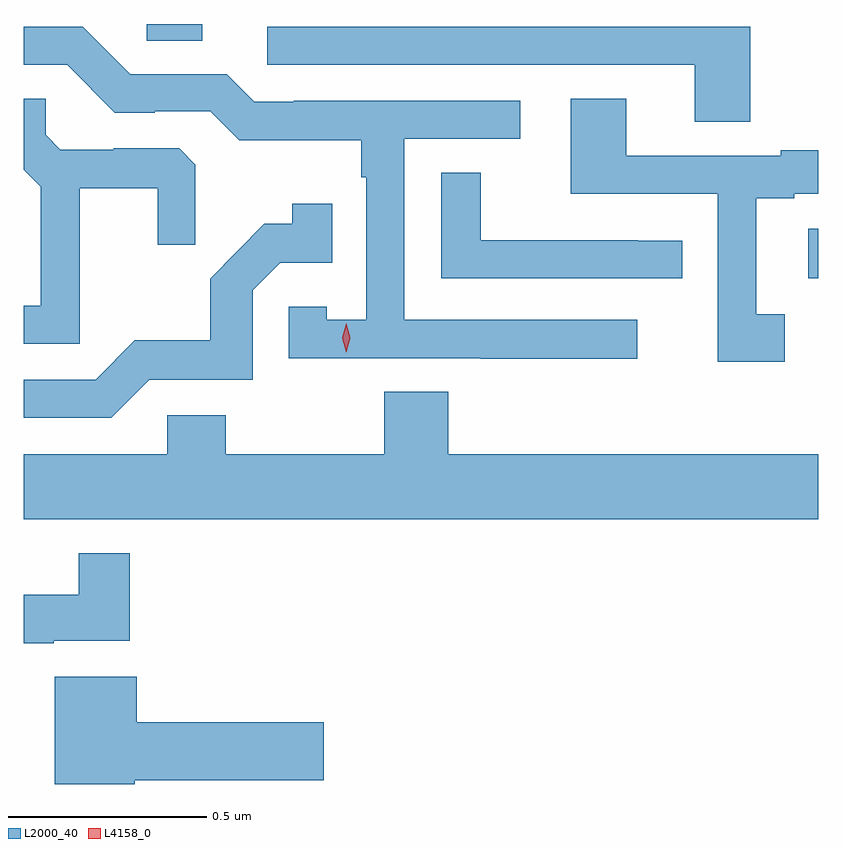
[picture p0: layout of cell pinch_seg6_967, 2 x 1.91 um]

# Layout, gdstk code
import gdstk
lib = gdstk.Library(unit=1e-6, precision=1e-09)
def R(c, l, rs):  # rectangles x0, y0, x1, y1
    for r in rs: c.add(gdstk.rectangle(r[:2], r[2:], *l))
def P(c, l, *ps):  # polygons
    for p in ps: c.add(gdstk.Polygon(p, *l))
L2000_40 = (2000, 40)
L4158_0 = (4158, 0)

pinch_seg6_967 = lib.new_cell('pinch_seg6_967')
R(pinch_seg6_967, L2000_40, [(366.087,918.639,366.112,918.763), (364.422,919.237,364.561,919.279)])
P(pinch_seg6_967, L2000_40, [(365.656,918.534),(365.07,918.534),(365.07,918.99),(365.362,918.99),(365.362,919.086),(364.792,919.086),(364.792,919.083),(364.692,919.083),(364.623,919.152),(364.38,919.152),(364.26,919.272),(364.112,919.272),(364.112,919.176),(364.221,919.176),(364.341,919.056),(364.442,919.056),(364.442,919.059),(364.581,919.059),(364.654,918.986),(364.962,918.986),(364.962,918.893),(364.974,918.893),(364.974,918.535),(364.875,918.535),(364.875,918.567),(364.779,918.567),(364.779,918.438),(365.263,918.438),(365.263,918.436),(365.656,918.436)],
  [(365.941,919.272),(364.725,919.272),(364.725,919.176),(365.801,919.176),(365.801,919.033),(365.941,919.033)],
  [(366.028,918.549),(365.956,918.549),(365.956,918.84),(366.052,918.84),(366.052,918.852),(366.112,918.852),(366.112,918.961),(366.017,918.961),(366.017,918.948),(365.629,918.948),(365.629,919.091),(365.489,919.091),(365.489,918.852),(365.859,918.852),(365.859,918.429),(366.028,918.429)],
  [(364.253,918.866),(364.45,918.866),(364.45,918.723),(364.544,918.723),(364.544,918.925),(364.503,918.966),(364.338,918.966),(364.338,918.963),(364.204,918.963),(364.167,919),(364.167,919.091),(364.112,919.091),(364.112,918.912),(364.155,918.869),(364.155,918.57),(364.112,918.57),(364.112,918.474),(364.253,918.474)],
  [(365.77,918.734),(365.657,918.734),(365.657,918.735),(365.262,918.735),(365.262,918.905),(365.163,918.905),(365.163,918.639),(365.77,918.639)],
  [(364.428,918.384),(364.689,918.384),(364.689,918.609),(364.758,918.678),(364.889,918.678),(364.889,918.826),(364.788,918.826),(364.788,918.776),(364.718,918.776),(364.581,918.638),(364.581,918.483),(364.392,918.483),(364.293,918.384),(364.112,918.384),(364.112,918.288),(364.332,918.288)],
  [(366.112,918.196),(365.18,918.196),(365.18,918.353),(365.02,918.353),(365.02,918.196),(364.62,918.196),(364.62,918.294),(364.473,918.294),(364.473,918.196),(364.112,918.196),(364.112,918.032),(366.112,918.032)],
  [(364.188,917.726),(364.379,917.726),(364.379,917.947),(364.251,917.947),(364.251,917.842),(364.112,917.842),(364.112,917.72),(364.188,917.72)],
  [(364.392,917.375),(364.867,917.375),(364.867,917.522),(364.396,917.522),(364.396,917.636),(364.19,917.636),(364.19,917.366),(364.392,917.366)])
P(pinch_seg6_967, L4158_0, [(364.924,918.453),(364.924,918.453),(364.914,918.489),(364.924,918.525),(364.924,918.526),(364.924,918.525),(364.934,918.489),(364.924,918.453)])

lib.write_gds('pinch_seg6_967.gds')
